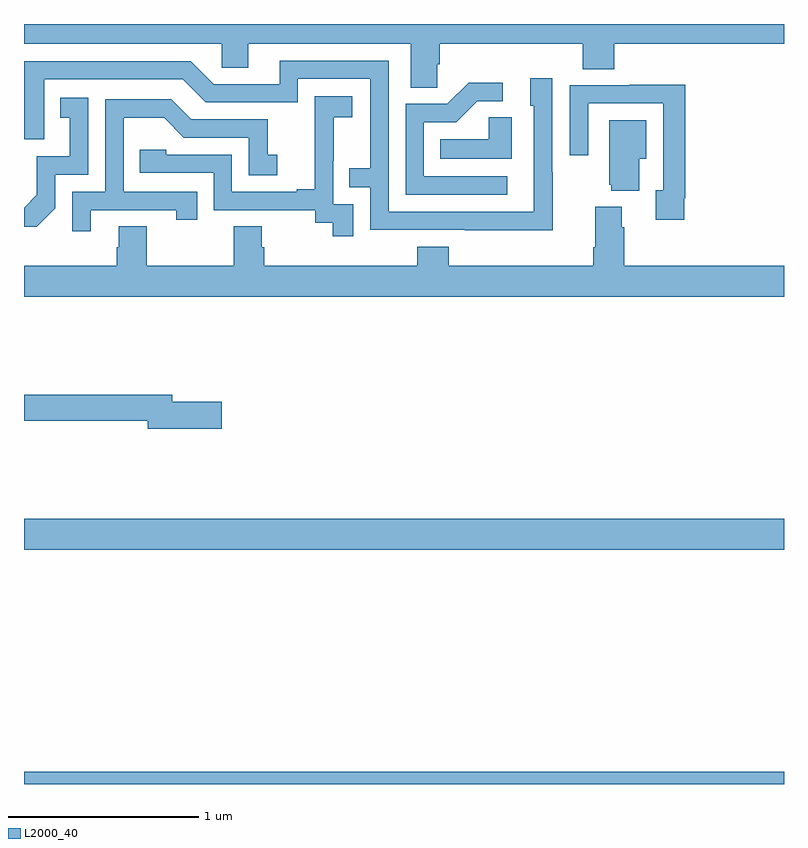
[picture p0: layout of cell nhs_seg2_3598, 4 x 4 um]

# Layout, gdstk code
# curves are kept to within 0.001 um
import gdstk
lib = gdstk.Library(unit=1e-6, precision=1e-09)
def R(c, l, rs):  # rectangles x0, y0, x1, y1
    for r in rs: c.add(gdstk.rectangle(r[:2], r[2:], *l))
def P(c, l, *ps):  # polygons
    for p in ps: c.add(gdstk.Polygon(p, *l))
L2000_40 = (2000, 40)

nhs_seg2_3598 = lib.new_cell('nhs_seg2_3598')
R(nhs_seg2_3598, L2000_40, [(301,583.8,305,583.864), (301,585.032,305,585.196)])
P(nhs_seg2_3598, L2000_40, [(303.174,587.587),(303.188,587.587),(303.188,587.696),(303.941,587.696),(303.941,587.563),(304.106,587.563),(304.106,587.696),(305,587.696),(305,587.8),(301,587.8),(301,587.696),(302.04,587.696),(302.04,587.569),(302.179,587.569),(302.179,587.696),(303.035,587.696),(303.035,587.464),(303.174,587.464)],
  [(303.783,587.021),(303.78,587.021),(303.78,587.515),(303.665,587.515),(303.665,587.37),(303.684,587.37),(303.684,586.812),(302.919,586.812),(302.919,587.607),(302.345,587.607),(302.345,587.484),(301.998,587.484),(301.878,587.604),(301,587.604),(301,587.193),(301.107,587.193),(301.107,587.508),(301.836,587.508),(301.956,587.388),(302.442,587.388),(302.442,587.511),(302.823,587.511),(302.823,587.042),(302.713,587.042),(302.713,586.941),(302.823,586.941),(302.823,586.716),(303.783,586.715)],
  [(303.544,586.998),(303.105,586.998),(303.105,587.283),(303.274,587.283),(303.385,587.394),(303.52,587.394),(303.52,587.492),(303.341,587.492),(303.228,587.379),(303.009,587.379),(303.009,586.902),(303.544,586.902)],
  [(304.474,586.882),(304.481,586.882),(304.481,587.48),(304.189,587.48),(304.189,587.478),(303.873,587.478),(303.873,587.109),(303.969,587.109),(303.969,587.382),(304.365,587.382),(304.365,586.926),(304.325,586.926),(304.325,586.77),(304.474,586.77)],
  [(302.733,586.851),(302.628,586.851),(302.628,587.081),(302.63,587.081),(302.63,587.309),(302.728,587.309),(302.728,587.419),(302.53,587.419),(302.53,587.213),(302.531,587.213),(302.531,586.93),(302.435,586.93),(302.435,586.917),(302.094,586.917),(302.094,587.112),(301.749,587.112),(301.749,587.139),(301.609,587.139),(301.609,587.016),(301.998,587.016),(301.998,586.821),(302.532,586.821),(302.532,586.753),(302.625,586.753),(302.625,586.683),(302.733,586.683)],
  [(301.164,586.83),(301.164,587.007),(301.338,587.007),(301.338,587.413),(301.192,587.413),(301.192,587.307),(301.241,587.307),(301.241,587.103),(301.068,587.103),(301.068,586.902),(301,586.834),(301,586.733),(301.066,586.733)],
  [(301.351,586.821),(301.802,586.821),(301.802,586.77),(301.913,586.77),(301.913,586.917),(301.524,586.917),(301.524,587.306),(301.738,587.306),(301.842,587.202),(302.184,587.202),(302.184,587.004),(302.332,587.004),(302.332,587.113),(302.283,587.113),(302.283,587.298),(301.879,587.298),(301.774,587.403),(301.428,587.403),(301.428,586.917),(301.254,586.917),(301.254,586.71),(301.351,586.71)],
  [(303.568,587.309),(303.447,587.309),(303.447,587.194),(303.19,587.194),(303.19,587.09),(303.568,587.09)],
  [(304.237,587.09),(304.276,587.09),(304.276,587.293),(304.079,587.293),(304.079,586.953),(304.091,586.953),(304.091,586.922),(304.237,586.922)],
  [(305,586.528),(304.16,586.528),(304.16,586.73),(304.147,586.73),(304.147,586.837),(304.007,586.837),(304.007,586.624),(303.995,586.624),(303.995,586.528),(303.236,586.528),(303.236,586.627),(303.071,586.627),(303.071,586.528),(302.264,586.528),(302.264,586.626),(302.251,586.626),(302.251,586.736),(302.104,586.736),(302.104,586.528),(301.647,586.528),(301.647,586.736),(301.499,586.736),(301.499,586.626),(301.487,586.626),(301.487,586.528),(301,586.528),(301,586.364),(305,586.364)],
  [(302.041,585.812),(301.78,585.812),(301.78,585.848),(301,585.848),(301,585.712),(301.652,585.712),(301.652,585.67),(302.041,585.67)])

lib.write_gds('nhs_seg2_3598.gds')
